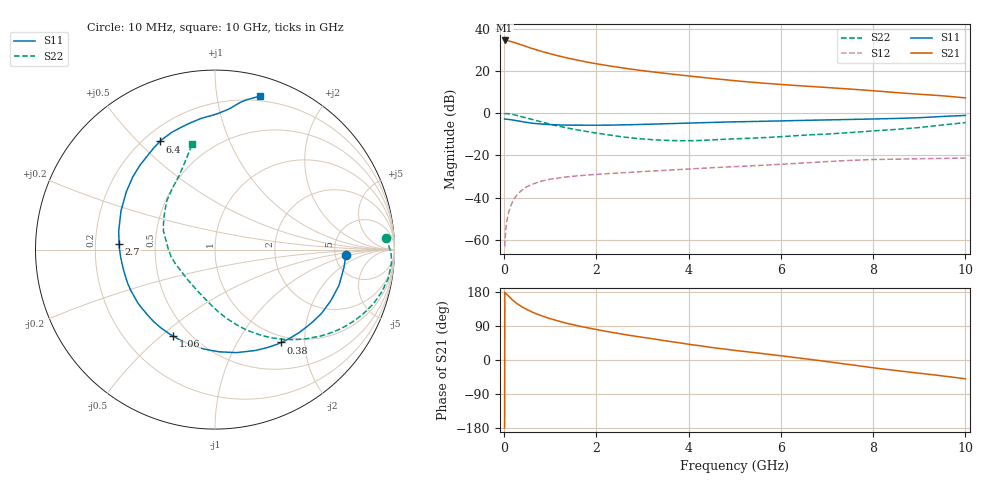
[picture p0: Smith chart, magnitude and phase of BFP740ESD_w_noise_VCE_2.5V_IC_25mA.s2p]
! Infineon Technologies  Discrete & RF Semiconductors
! BFP740ESD
! VCE =  2.5 V,  IC =  25 mA
! Common Emitter S-Parameters:  Jan 2016
# GHz  S  MA  R  50
!  f  S11  S21  S12  S22
! GHz  MAG  ANG  MAG  ANG  MAG  ANG  MAG  ANG
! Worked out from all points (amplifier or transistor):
!   233 points, 10 MHz to 10 GHz, reference 50 ohm
!   highest |S21| = 34.6 dB at 10 MHz (marker M1)
!   |S21| within 3 dB of that: start of sweep to 493.1 MHz
!   unconditionally stable (mu >= 1): 4.358 GHz to 7.107 GHz
!   at 200 MHz: K = 0.16, MSG = 37.6 dB, |S12| = -41.3 dB
!   at 1.74 GHz: K = 0.64, MSG = 27.0 dB, |S12| = -29.4 dB
!   at 10 GHz: K = 0.73, MSG = 14.3 dB, |S12| = -21.2 dB
!   lowest NFmin = 0.88 dB at 450 MHz
!   S11 on the Smith chart (normalised r, x): 10 MHz: 6.32, -0.87; 380 MHz: 0.90, -1.55; 1.06 GHz: 0.41, -0.55; 2.7 GHz: 0.30, +0.03; 6.4 GHz: 0.26, +0.58; 10 GHz: 0.16, +1.32
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0.01  0.7313 -2.5  53.71 -179.5  0.0007 164.9  0.9554 4.0
0.02  0.7287 -3.7  53.08 177.5  0.001 88.6  0.9809 -1.1
0.065  0.7218 -10.5  52.7 171.8  0.003 86.2  0.9833 -5.8
0.1  0.719 -16.0  52.38 167.7  0.0045 82.0  0.9781 -9.5
0.15  0.7055 -23.8  50.87 161.7  0.0066 78.6  0.9584 -14.3
0.195  0.6924 -30.4  49.26 156.9  0.0084 75.6  0.9359 -18.2
0.3  0.6582 -44.7  45.09 146.9  0.0123 69.0  0.8769 -26.4
0.38  0.6352 -54.5  41.98 140.8  0.0148 64.9  0.8302 -31.8
0.5  0.606 -68.0  37.8 132.7  0.0182 59.7  0.7643 -38.9
0.7  0.5699 -87.7  32.15 121.7  0.0226 52.6  0.6673 -48.8
0.9  0.5484 -104.2  27.75 112.8  0.0259 47.2  0.5869 -57.0
1.06  0.5356 -115.6  24.89 106.9  0.028 43.9  0.5317 -62.7
1.34  0.5252 -132.6  20.94 97.5  0.0308 39.6  0.4546 -71.6
1.68  0.5209 -148.7  17.46 88.1  0.0334 36.2  0.3867 -80.6
2.2  0.5225 -168.2  13.79 75.8  0.0367 32.8  0.3138 -93.1
2.7  0.5353 176.6  11.4 65.5  0.0395 30.9  0.2645 -106.6
3.4  0.5608 159.7  9.122 52.6  0.0438 29.0  0.2308 -126.4
5.1  0.6307 130.8  5.805 24.1  0.0547 23.3  0.25 -173.2
6.4  0.676 117.0  4.516 5.1  0.0653 18.3  0.2987 162.1
6.8  0.6897 112.2  4.228 -1.0  0.0693 15.9  0.3144 155.9
8.4  0.7493 90.9  3.166 -26.4  0.0812 2.1  0.4081 126.7
10  0.8904 73.8  2.322 -49.7  0.0869 -9.9  0.6017 102.2
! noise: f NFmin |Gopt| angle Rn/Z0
0.45  0.88  0.07  -171  0.16
0.9  0.9  0.09  -160  0.09
1.9  0.94  0.12  -147  0.11
2.4  0.98  0.17  -133  0.12
5.5  1.13  0.34  -114  0.14
10  1.7  0.57  -84  0.59
